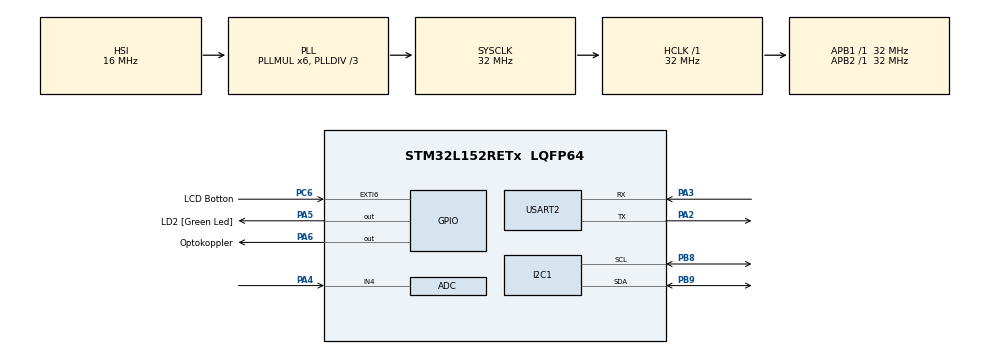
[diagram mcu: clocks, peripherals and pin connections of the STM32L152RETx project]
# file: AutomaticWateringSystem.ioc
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ADC.Channel-2\#ChannelRegularConversion=ADC_CHANNEL_4
ADC.NbrOfConversionFlag=1
ADC.Rank-2\#ChannelRegularConversion=1
ADC.SamplingTime-2\#ChannelRegularConversion=ADC_SAMPLETIME_4CYCLES
I2C1.OwnAddress=0x30
Mcu.Family=STM32L1
Mcu.Name=STM32L152RETx
Mcu.Package=LQFP64
NVIC.EXTI9_5_IRQn=true\:0\:0\:false\:false\:true\:true\:true\:true
NVIC.PriorityGroup=NVIC_PRIORITYGROUP_0
NVIC.RTC_WKUP_IRQn=true\:0\:0\:false\:false\:true\:true\:true\:true
NVIC.USART2_IRQn=true\:0\:0\:false\:false\:true\:true\:true\:true
PA13.GPIO_Label=TMS
PA13.Mode=Serial_Wire
PA13.Signal=SYS_JTMS-SWDIO
PA14.GPIO_Label=TCK
PA14.Mode=Serial_Wire
PA14.Signal=SYS_JTCK-SWCLK
PA2.Mode=Asynchronous
PA2.Signal=USART2_TX
PA3.Mode=Asynchronous
PA3.Signal=USART2_RX
PA4.Mode=IN4
PA4.Signal=ADC_IN4
PA5.GPIO_Label=LD2 [Green Led]
PA5.Signal=GPIO_Output
PA6.GPIO_Label=Optokoppler
PA6.Signal=GPIO_Output
PB8.GPIO_Speed=GPIO_SPEED_FREQ_LOW
PB8.Mode=I2C
PB8.Signal=I2C1_SCL
PB9.GPIO_Speed=GPIO_SPEED_FREQ_LOW
PB9.Mode=I2C
PB9.Signal=I2C1_SDA
PC14-OSC32_IN.Mode=LSE-External-Oscillator
PC14-OSC32_IN.Signal=RCC_OSC32_IN
PC15-OSC32_OUT.Mode=LSE-External-Oscillator
PC15-OSC32_OUT.Signal=RCC_OSC32_OUT
PC6.GPIO_Label=LCD Botton
PC6.GPIO_ModeDefaultEXTI=GPIO_MODE_IT_FALLING
PC6.Signal=GPXTI6
PH0-OSC_IN.Mode=HSE-External-Oscillator
PH0-OSC_IN.Signal=RCC_OSC_IN
PH1-OSC_OUT.Mode=HSE-External-Oscillator
PH1-OSC_OUT.Signal=RCC_OSC_OUT
ProjectManager.HeapSize=0x200
ProjectManager.StackSize=0x400
ProjectManager.TargetToolchain=STM32CubeIDE
RCC.48MHZClocksFreq_Value=48000000
RCC.AHBFreq_Value=32000000
RCC.APB1Freq_Value=32000000
RCC.APB1TimFreq_Value=32000000
RCC.APB2Freq_Value=32000000
RCC.APB2TimFreq_Value=32000000
RCC.HCLKFreq_Value=32000000
RCC.HSE_VALUE=8000000
RCC.HSI_VALUE=16000000
RCC.MSI_VALUE=2097000
RCC.PLLDIV=RCC_PLL_DIV3
RCC.PLLMUL=RCC_PLL_MUL6
RCC.RTCClockSelectionVirtual=RCC_RTCCLKSOURCE_LSE
RCC.SYSCLKFreq_VALUE=32000000
RCC.SYSCLKSource=RCC_SYSCLKSOURCE_PLLCLK
RCC.USBOutput=48000000
RCC.VCOOutputFreq_Value=96000000
RTC.WakeUpCounter-WakeUp=SLEEPTIME
USART2.VirtualMode=VM_ASYNC
VP_RTC_VS_RTC_Activate.Mode=RTC_Enabled
VP_RTC_VS_RTC_WakeUp_intern.Mode=WakeUp
board=NUCLEO-L152RE

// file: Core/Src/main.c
/* USER CODE BEGIN Header */
/**
  ******************************************************************************
  * @file           : main.c
  * @brief          : Main program body
  ******************************************************************************
  * @attention
  *
  * Copyright (c) 2023 STMicroelectronics.
  * All rights reserved.
  *
  * This software is licensed under terms that can be found in the LICENSE file
  * in the root directory of this software component.
  * If no LICENSE file comes with this software, it is provided AS-IS.
  *
  ******************************************************************************
  */
/* USER CODE END Header */
#include "main.h"

/* USER CODE BEGIN PD */
//Global Variables
const uint16_t LCD16x2_ADDR = (ADDRESS << 1); // Use 7-bit address shifted to left, to add R/W Bit
inter_mode mode = FIRST_BOOT;
uint16_t last_time_watered = 0;
/* USER CODE END PD */

ADC_HandleTypeDef hadc;

I2C_HandleTypeDef hi2c1;

RTC_HandleTypeDef hrtc;

UART_HandleTypeDef huart2;

/* USER CODE BEGIN PV */
//Variables for Real Time Clock (RTC)
RTC_TimeTypeDef sTime = {0};
RTC_DateTypeDef sDate = {0};
/* USER CODE END PV */

void SystemClock_Config(void);
static void MX_GPIO_Init(void);
static void MX_ADC_Init(void);
static void MX_I2C1_Init(void);
static void MX_USART2_UART_Init(void);
static void MX_RTC_Init(void);

/* USER CODE BEGIN 0 */

/*
 * Interrupt Handler for serial Connection with PC for manually control pump, can't trigger exti-interrupt to wake up currently. Only nvic
 */
void HAL_UART_RxCpltCallback(UART_HandleTypeDef *huart){
	/*
	 * Restart System Clock after it was disabled in stop mode
	 */
	SystemClock_Config ();
	HAL_ResumeTick();

	mode=KEYBOARD_INTERRUPT;
}

/*
 * Interrupt Handler for RTC WakeUp
 */
void HAL_RTCEx_WakeUpTimerEventCallback(RTC_HandleTypeDef *hrtc){
	/*
	 * Restart System Clock after it was disabled in stop mode
	 */
	SystemClock_Config();
	HAL_ResumeTick();
	/*
	 * RTC Interrupt should not interrupt other interrupt handlers
	 */
	if(mode==UNKNOWN) mode=TIMER_INTERRUPT;

//	HAL_RTCEx_SetWakeUpTimer_IT(hrtc, 0x708000, RTC_WAKEUPCLOCK_RTCCLK_DIV16);
}

/*
 * Interrupt Handler for external gpio interrupt with button on lcd-display
 */
void HAL_GPIO_EXTI_Callback(uint16_t GPIO_Pin){
	/*
	 * Restart System Clock after it was disabled in stop mode
	 */
	SystemClock_Config();
	HAL_ResumeTick();

	if(GPIO_Pin == LCD_Botton_Pin){
		mode=BUTTON_3_INTERRUPT;
	}
}

/* USER CODE END 0 */

int main(void)
{
  /* USER CODE BEGIN 1 */
	uint8_t send_message[ARRAYSIZE] = {0};
	HAL_StatusTypeDef returnmessage = HAL_ERROR;
	const uint16_t waittime = TIMEAFTERWATERING_IN_MIN * 60;
	uint8_t receive_message_buf[1] = {2};
	uint16_t countwatering = 0;
  /* USER CODE END 1 */

  /* MCU Configuration--------------------------------------------------------*/

  /* Reset of all peripherals, Initializes the Flash interface and the Systick. */
  HAL_Init();

  /* Configure the system clock */
  SystemClock_Config();

  /* Initialize all configured peripherals */
  MX_GPIO_Init();
  MX_ADC_Init();
  MX_I2C1_Init();
  MX_USART2_UART_Init();
  MX_RTC_Init();
  /* USER CODE BEGIN 2 */

  if (HAL_UART_Receive_IT(&huart2, receive_message_buf, sizeof(receive_message_buf)) != HAL_OK) {
    	sprintf((char *) send_message, "Error UART IT!\r\n");
    	HAL_UART_Transmit(&huart2, send_message, strlen((char *) send_message), HAL_MAX_DELAY);
    }

//  if (HAL_RTCEx_SetWakeUpTimer_IT(&hrtc, 0x708000, RTC_WAKEUPCLOCK_RTCCLK_DIV16) != HAL_OK) {
//	sprintf((char *) send_message, "Error WakeUp!\r\n");
//	HAL_UART_Transmit(&huart2, send_message, strlen((char *) send_message), HAL_MAX_DELAY);
//  }

  /*
   * Initialize last_time_watered
   */
  get_time_in_int(&last_time_watered, &hrtc, sTime, sDate);

  /* USER CODE END 2 */

  /* Infinite loop */
  /* USER CODE BEGIN WHILE */
  while (1)
  {
//	  //LCD_Write test message
	  HAL_Delay(100);
	  char* test = "uC is running!";
	  returnmessage = send_to_display(&hi2c1, test, strlen((char *) test), LCD16x2_ADDR);
	  if(returnmessage != HAL_OK){
		  sprintf((char *)send_message,"Error write: 0x%x\r\n", returnmessage);
		  HAL_UART_Transmit(&huart2, send_message, strlen((char*) send_message), HAL_MAX_DELAY);
	  }
////	test rtc
//		HAL_RTC_GetTime(&hrtc, &sTime, RTC_FORMAT_BIN);
//		HAL_RTC_GetDate(&hrtc, &sDate, RTC_FORMAT_BIN);
//		sprintf((char*) send_message, "%02d:%02d:%02d:%02d", sDate.WeekDay, sTime.Hours, sTime.Minutes, sTime.Seconds);
//		send_to_display(&hi2c1, send_message, strlen((char *) send_message), LCD16x2_ADDR);
//		HAL_UART_Transmit(&huart2, send_message, strlen((char*) send_message), HAL_MAX_DELAY);
//		HAL_Delay(100);

//	  if(!should_water(&last_time_watered, (uint16_t) waittime, &hrtc, sTime, sDate)){
//		  sprintf((char *)send_message,"Watering!!!!\r\n");
//		  HAL_UART_Transmit(&huart2, send_message, strlen((char*) send_message), HAL_MAX_DELAY);
//	  }
//	  else{
//		  sprintf((char *)send_message,"Water time: %d\r\n", last_time_watered);
//		  HAL_UART_Transmit(&huart2, send_message, strlen((char*) send_message), HAL_MAX_DELAY);
//	  }

	  /*
	   * Check if Flag was set and which one
	   * On first run this sequence is run, to ensure connection to display
	   */
	  if(mode==FIRST_BOOT){
		  sprintf((char *) send_message, "Controller was restarted or firstly booted\r\n");
		  HAL_UART_Transmit(&huart2, send_message, strlen((char *) send_message), HAL_MAX_DELAY);

		  /*
		   * LCD16x2 get ID to ensure that display is connected correctly, doesn't work on first run??
		   */
		  send_message[0] = GET_ID;

		  returnmessage = HAL_I2C_Master_Transmit(&hi2c1, LCD16x2_ADDR , send_message, 1, HAL_MAX_DELAY);
		  if(returnmessage != HAL_OK){
			  sprintf((char *)send_message,"Error ID Tx: 0x%x\r\n", returnmessage);
		  }
		  else{
			  returnmessage = HAL_I2C_Master_Receive(&hi2c1, LCD16x2_ADDR, send_message, 1, HAL_MAX_DELAY);

			  if(returnmessage != HAL_OK) sprintf((char *)send_message,"Error ID Rx: 0x%x\r\n", returnmessage);
			  if(send_message[0]==0x65) sprintf((char *)send_message,"Display connected correct. LCD-ID: 0x%x\r\n", send_message[0]);
			  else sprintf((char *)send_message,"Display connected incorrect. LCD-ID: 0x%x\r\n", send_message[0]);
		  }
		  HAL_UART_Transmit(&huart2, send_message, strlen((char*) send_message), HAL_MAX_DELAY);
	  }
	  // Sequence for interrupt triggered by rtc-timer
	  else if(mode==TIMER_INTERRUPT){
		  returnmessage = timer_interrupt_routine(&huart2, &hadc, &hi2c1, waittime, &last_time_watered, &countwatering, LCD16x2_ADDR, &hrtc, sTime, sDate);
		  if(returnmessage != HAL_OK){
			  sprintf((char *)send_message,"Error timinthandl: 0x%x\r\n", returnmessage);
			  HAL_UART_Transmit(&huart2, send_message, strlen((char*) send_message), HAL_MAX_DELAY);
		  }

//		  //debugging
//		  uint8_t* timebuf;
//		  get_time((char *) timebuf, &hrtc, sTime, sDate);
//		  sprintf((char *) send_message, "Woke up at: \r\n%s\r\n", timebuf);
//		  HAL_UART_Transmit(&huart2, send_message, strlen((char *) send_message), HAL_MAX_DELAY);
//		  send_to_display(&hi2c1, (uint16_t *) send_message, strlen((char *) send_message)-2, LCD16x2_ADDR);
//		  HAL_Delay(1000);
	  }

	  /*
	   * sequence triggered by buttons on lcd-display, i2c slave cannot trigger interrupt at master.
	   * Solder wire from button to gpio pin of uC to trigger interrupt that way
	   */
	  else if(mode==BUTTON_1_INTERRUPT || mode==BUTTON_2_INTERRUPT || mode==BUTTON_3_INTERRUPT || mode==BUTTON_4_INTERRUPT){
		  returnmessage = gpio_interrupt_routine(&huart2, &hadc, &hi2c1, LCD16x2_ADDR, &countwatering, &hrtc, sTime, sDate);
		  if(returnmessage != HAL_OK){
			  sprintf((char *)send_message,"Error button inthandl: 0x%x\r\n", returnmessage);
			  HAL_UART_Transmit(&huart2, send_message, strlen((char*) send_message), HAL_MAX_DELAY);
		  }
	  }
	  // sequence for UART interrupt, cannot wake up uC, because uses global nvic interrupt not exti line
	  else if(mode==KEYBOARD_INTERRUPT){
		  returnmessage = uart_interrupt_routine(receive_message_buf[0], &countwatering, &huart2, &hi2c1, LCD16x2_ADDR);

		  if(returnmessage != HAL_OK){
			  sprintf((char *)send_message,"Error uartinthandl: 0x%x\r\n", returnmessage);
			  HAL_UART_Transmit(&huart2, send_message, strlen((char*) send_message), HAL_MAX_DELAY);
		  }
		  HAL_UART_Receive_IT(&huart2, receive_message_buf, sizeof(receive_message_buf));
	  }
	  else{
		  sprintf((char *)send_message, "Something unexpected happend!\r\n");
		  HAL_UART_Transmit(&huart2, send_message, strlen((char*)send_message), HAL_MAX_DELAY);
	  }

	  //LCD_Clear Display
	  clear_screen(&hi2c1, LCD16x2_ADDR);

//	  ////LCD16x2 Backlight OFF
//	  send_message[0] = SET_BL;
//	  send_message[1] = BACKLIGHT_OFF;
//
//	  returnmessage = HAL_I2C_Master_Transmit(&hi2c1, LCD16x2_ADDR , send_message, 2, HAL_MAX_DELAY);
//
//	  if(returnmessage != HAL_OK){
//		  sprintf((char *)send_message,"Error BL: 0x%x\r\n", returnmessage);
//		  HAL_UART_Transmit(&huart2, send_message, strlen((char*) send_message), HAL_MAX_DELAY);
//	  }
//
//	  HAL_Delay(100);

	  mode=UNKNOWN; //Reset interrupt_mode typedef

	  sprintf((char *) send_message, "Entering Stop-Mode!\r\n");
	  HAL_UART_Transmit(&huart2, send_message, strlen((char *) send_message), HAL_MAX_DELAY);
	  /*Suspend Sys-Clock, because it would wake uC up on first pulse*/
	  HAL_SuspendTick();
	  /*Enter Stop-Mode*/
	  HAL_PWR_EnterSTOPMode(PWR_LOWPOWERREGULATOR_ON, PWR_STOPENTRY_WFI);
//	  HAL_PWR_EnterSLEEPMode(PWR_LOWPOWERREGULATOR_ON, PWR_STOPENTRY_WFI);
	  HAL_ResumeTick();

    /* USER CODE END WHILE */

  }
}

void SystemClock_Config(void)
{
  RCC_OscInitTypeDef RCC_OscInitStruct = {0};
  RCC_ClkInitTypeDef RCC_ClkInitStruct = {0};
  RCC_PeriphCLKInitTypeDef PeriphClkInit = {0};

  /** Configure the main internal regulator output voltage
  */
  __HAL_PWR_VOLTAGESCALING_CONFIG(PWR_REGULATOR_VOLTAGE_SCALE1);

  /** Initializes the RCC Oscillators according to the specified parameters
  * in the RCC_OscInitTypeDef structure.
  */
  RCC_OscInitStruct.OscillatorType = RCC_OSCILLATORTYPE_HSI|RCC_OSCILLATORTYPE_LSE;
  RCC_OscInitStruct.LSEState = RCC_LSE_ON;
  RCC_OscInitStruct.HSIState = RCC_HSI_ON;
  RCC_OscInitStruct.HSICalibrationValue = RCC_HSICALIBRATION_DEFAULT;
  RCC_OscInitStruct.PLL.PLLState = RCC_PLL_ON;
  RCC_OscInitStruct.PLL.PLLSource = RCC_PLLSOURCE_HSI;
  RCC_OscInitStruct.PLL.PLLMUL = RCC_PLL_MUL6;
  RCC_OscInitStruct.PLL.PLLDIV = RCC_PLL_DIV3;
  if (HAL_RCC_OscConfig(&RCC_OscInitStruct) != HAL_OK)
  {
    Error_Handler();
  }

  /** Initializes the CPU, AHB and APB buses clocks
  */
  RCC_ClkInitStruct.ClockType = RCC_CLOCKTYPE_HCLK|RCC_CLOCKTYPE_SYSCLK
                              |RCC_CLOCKTYPE_PCLK1|RCC_CLOCKTYPE_PCLK2;
  RCC_ClkInitStruct.SYSCLKSource = RCC_SYSCLKSOURCE_PLLCLK;
  RCC_ClkInitStruct.AHBCLKDivider = RCC_SYSCLK_DIV1;
  RCC_ClkInitStruct.APB1CLKDivider = RCC_HCLK_DIV1;
  RCC_ClkInitStruct.APB2CLKDivider = RCC_HCLK_DIV1;

  if (HAL_RCC_ClockConfig(&RCC_ClkInitStruct, FLASH_LATENCY_1) != HAL_OK)
  {
    Error_Handler();
  }
  PeriphClkInit.PeriphClockSelection = RCC_PERIPHCLK_RTC;
  PeriphClkInit.RTCClockSelection = RCC_RTCCLKSOURCE_LSE;
  if (HAL_RCCEx_PeriphCLKConfig(&PeriphClkInit) != HAL_OK)
  {
    Error_Handler();
  }
}

static void MX_ADC_Init(void)
{

  ADC_ChannelConfTypeDef sConfig = {0};

  /** Configure the global features of the ADC (Clock, Resolution, Data Alignment and number of conversion)
  */
  hadc.Instance = ADC1;
  hadc.Init.ClockPrescaler = ADC_CLOCK_ASYNC_DIV1;
  hadc.Init.Resolution = ADC_RESOLUTION_12B;
  hadc.Init.DataAlign = ADC_DATAALIGN_RIGHT;
  hadc.Init.ScanConvMode = ADC_SCAN_DISABLE;
  hadc.Init.EOCSelection = ADC_EOC_SEQ_CONV;
  hadc.Init.LowPowerAutoWait = ADC_AUTOWAIT_DISABLE;
  hadc.Init.LowPowerAutoPowerOff = ADC_AUTOPOWEROFF_DISABLE;
  hadc.Init.ChannelsBank = ADC_CHANNELS_BANK_A;
  hadc.Init.ContinuousConvMode = DISABLE;
  hadc.Init.NbrOfConversion = 1;
  hadc.Init.DiscontinuousConvMode = DISABLE;
  hadc.Init.ExternalTrigConv = ADC_SOFTWARE_START;
  hadc.Init.ExternalTrigConvEdge = ADC_EXTERNALTRIGCONVEDGE_NONE;
  hadc.Init.DMAContinuousRequests = DISABLE;
  if (HAL_ADC_Init(&hadc) != HAL_OK)
  {
    Error_Handler();
  }

  /** Configure for the selected ADC regular channel its corresponding rank in the sequencer and its sample time.
  */
  sConfig.Channel = ADC_CHANNEL_4;
  sConfig.Rank = ADC_REGULAR_RANK_1;
  sConfig.SamplingTime = ADC_SAMPLETIME_4CYCLES;
  if (HAL_ADC_ConfigChannel(&hadc, &sConfig) != HAL_OK)
  {
    Error_Handler();
  }

}

static void MX_I2C1_Init(void)
{

  hi2c1.Instance = I2C1;
  hi2c1.Init.ClockSpeed = 100000;
  hi2c1.Init.DutyCycle = I2C_DUTYCYCLE_2;
  hi2c1.Init.OwnAddress1 = 96;
  hi2c1.Init.AddressingMode = I2C_ADDRESSINGMODE_7BIT;
  hi2c1.Init.DualAddressMode = I2C_DUALADDRESS_DISABLE;
  hi2c1.Init.OwnAddress2 = 0;
  hi2c1.Init.GeneralCallMode = I2C_GENERALCALL_DISABLE;
  hi2c1.Init.NoStretchMode = I2C_NOSTRETCH_DISABLE;
  if (HAL_I2C_Init(&hi2c1) != HAL_OK)
  {
    Error_Handler();
  }

}

static void MX_RTC_Init(void)
{

  RTC_TimeTypeDef sTime = {0};
  RTC_DateTypeDef sDate = {0};

  /** Initialize RTC Only
  */
  hrtc.Instance = RTC;
  hrtc.Init.HourFormat = RTC_HOURFORMAT_24;
  hrtc.Init.AsynchPrediv = 124;
  hrtc.Init.SynchPrediv = 295;
  hrtc.Init.OutPut = RTC_OUTPUT_DISABLE;
  hrtc.Init.OutPutPolarity = RTC_OUTPUT_POLARITY_HIGH;
  hrtc.Init.OutPutType = RTC_OUTPUT_TYPE_OPENDRAIN;
  if (HAL_RTC_Init(&hrtc) != HAL_OK)
  {
    Error_Handler();
  }

  /** Initialize RTC and set the Time and Date
  */
  sTime.Hours = 0x0;
  sTime.Minutes = 0x0;
  sTime.Seconds = 0x0;
  sTime.DayLightSaving = RTC_DAYLIGHTSAVING_NONE;
  sTime.StoreOperation = RTC_STOREOPERATION_RESET;
  if (HAL_RTC_SetTime(&hrtc, &sTime, RTC_FORMAT_BCD) != HAL_OK)
  {
    Error_Handler();
  }
  sDate.WeekDay = RTC_WEEKDAY_MONDAY;
  sDate.Month = RTC_MONTH_JANUARY;
  sDate.Date = 0x1;
  sDate.Year = 0x0;

  if (HAL_RTC_SetDate(&hrtc, &sDate, RTC_FORMAT_BCD) != HAL_OK)
  {
    Error_Handler();
  }

  /** Enable the WakeUp
  */
  if (HAL_RTCEx_SetWakeUpTimer_IT(&hrtc, SLEEPTIME, RTC_WAKEUPCLOCK_RTCCLK_DIV16) != HAL_OK)
  {
    Error_Handler();
  }
  /* USER CODE BEGIN RTC_Init 2 */

  HAL_PWR_DisableSleepOnExit();

  /* USER CODE END RTC_Init 2 */

}

static void MX_USART2_UART_Init(void)
{

  huart2.Instance = USART2;
  huart2.Init.BaudRate = 115200;
  huart2.Init.WordLength = UART_WORDLENGTH_8B;
  huart2.Init.StopBits = UART_STOPBITS_1;
  huart2.Init.Parity = UART_PARITY_NONE;
  huart2.Init.Mode = UART_MODE_TX_RX;
  huart2.Init.HwFlowCtl = UART_HWCONTROL_NONE;
  huart2.Init.OverSampling = UART_OVERSAMPLING_16;
  if (HAL_UART_Init(&huart2) != HAL_OK)
  {
    Error_Handler();
  }

}

static void MX_GPIO_Init(void)
{
  GPIO_InitTypeDef GPIO_InitStruct = {0};

  /* GPIO Ports Clock Enable */
  __HAL_RCC_GPIOC_CLK_ENABLE();
  __HAL_RCC_GPIOH_CLK_ENABLE();
  __HAL_RCC_GPIOA_CLK_ENABLE();
  __HAL_RCC_GPIOB_CLK_ENABLE();
  __HAL_RCC_GPIOD_CLK_ENABLE();

  /*Configure GPIO pin Output Level */
  HAL_GPIO_WritePin(GPIOA, LD2_Pin|Optokoppler_Pin, GPIO_PIN_RESET);

  /*Configure GPIO pins : PC13 PC0 PC1 PC2
                           PC3 PC4 PC5 PC7
                           PC8 PC9 PC10 PC11
                           PC12 */
  GPIO_InitStruct.Pin = GPIO_PIN_13|GPIO_PIN_0|GPIO_PIN_1|GPIO_PIN_2
                          |GPIO_PIN_3|GPIO_PIN_4|GPIO_PIN_5|GPIO_PIN_7
                          |GPIO_PIN_8|GPIO_PIN_9|GPIO_PIN_10|GPIO_PIN_11
                          |GPIO_PIN_12;
  GPIO_InitStruct.Mode = GPIO_MODE_ANALOG;
  GPIO_InitStruct.Pull = GPIO_NOPULL;
  HAL_GPIO_Init(GPIOC, &GPIO_InitStruct);

  /*Configure GPIO pins : PA0 PA1 PA7 PA8
                           PA9 PA10 PA11 PA12
                           PA15 */
  GPIO_InitStruct.Pin = GPIO_PIN_0|GPIO_PIN_1|GPIO_PIN_7|GPIO_PIN_8
                          |GPIO_PIN_9|GPIO_PIN_10|GPIO_PIN_11|GPIO_PIN_12
                          |GPIO_PIN_15;
  GPIO_InitStruct.Mode = GPIO_MODE_ANALOG;
  GPIO_InitStruct.Pull = GPIO_NOPULL;
  HAL_GPIO_Init(GPIOA, &GPIO_InitStruct);

  /*Configure GPIO pins : LD2_Pin Optokoppler_Pin */
  GPIO_InitStruct.Pin = LD2_Pin|Optokoppler_Pin;
  GPIO_InitStruct.Mode = GPIO_MODE_OUTPUT_PP;
  GPIO_InitStruct.Pull = GPIO_NOPULL;
  GPIO_InitStruct.Speed = GPIO_SPEED_FREQ_LOW;
  HAL_GPIO_Init(GPIOA, &GPIO_InitStruct);

  /*Configure GPIO pins : PB0 PB1 PB2 PB10
                           PB11 PB12 PB13 PB14
                           PB15 PB3 PB4 PB5
                           PB6 PB7 */
  GPIO_InitStruct.Pin = GPIO_PIN_0|GPIO_PIN_1|GPIO_PIN_2|GPIO_PIN_10
                          |GPIO_PIN_11|GPIO_PIN_12|GPIO_PIN_13|GPIO_PIN_14
                          |GPIO_PIN_15|GPIO_PIN_3|GPIO_PIN_4|GPIO_PIN_5
                          |GPIO_PIN_6|GPIO_PIN_7;
  GPIO_InitStruct.Mode = GPIO_MODE_ANALOG;
  GPIO_InitStruct.Pull = GPIO_NOPULL;
  HAL_GPIO_Init(GPIOB, &GPIO_InitStruct);

  /*Configure GPIO pin : LCD_Botton_Pin */
  GPIO_InitStruct.Pin = LCD_Botton_Pin;
  GPIO_InitStruct.Mode = GPIO_MODE_IT_FALLING;
  GPIO_InitStruct.Pull = GPIO_NOPULL;
  HAL_GPIO_Init(LCD_Botton_GPIO_Port, &GPIO_InitStruct);

  /*Configure GPIO pin : PD2 */
  GPIO_InitStruct.Pin = GPIO_PIN_2;
  GPIO_InitStruct.Mode = GPIO_MODE_ANALOG;
  GPIO_InitStruct.Pull = GPIO_NOPULL;
  HAL_GPIO_Init(GPIOD, &GPIO_InitStruct);

  /* EXTI interrupt init*/
  HAL_NVIC_SetPriority(EXTI9_5_IRQn, 0, 0);
  HAL_NVIC_EnableIRQ(EXTI9_5_IRQn);

}

void Error_Handler(void)
{
  __disable_irq();
  while (1)
  {
  }
}
